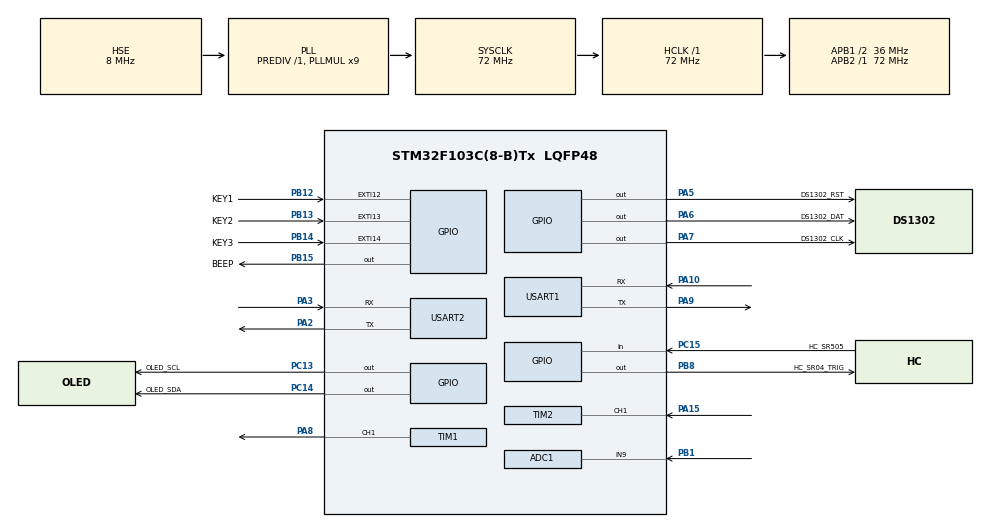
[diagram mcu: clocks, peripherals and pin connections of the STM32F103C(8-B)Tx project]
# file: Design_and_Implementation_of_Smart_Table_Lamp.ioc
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ADC1.Channel-0\#ChannelRegularConversion=ADC_CHANNEL_9
ADC1.NbrOfConversionFlag=1
ADC1.Rank-0\#ChannelRegularConversion=1
ADC1.SamplingTime-0\#ChannelRegularConversion=ADC_SAMPLETIME_1CYCLE_5
ADC1.master=1
Dma.Request0=USART1_RX
Dma.USART1_RX.0.Direction=DMA_PERIPH_TO_MEMORY
Dma.USART1_RX.0.Instance=DMA1_Channel5
Dma.USART1_RX.0.MemDataAlignment=DMA_MDATAALIGN_BYTE
Dma.USART1_RX.0.MemInc=DMA_MINC_ENABLE
Dma.USART1_RX.0.Mode=DMA_NORMAL
Dma.USART1_RX.0.PeriphDataAlignment=DMA_PDATAALIGN_BYTE
Dma.USART1_RX.0.PeriphInc=DMA_PINC_DISABLE
Dma.USART1_RX.0.Priority=DMA_PRIORITY_LOW
Mcu.Family=STM32F1
Mcu.Name=STM32F103C(8-B)Tx
Mcu.Package=LQFP48
NVIC.DMA1_Channel5_IRQn=true\:0\:0\:false\:false\:true\:false\:true\:true
NVIC.EXTI15_10_IRQn=true\:0\:0\:false\:false\:true\:true\:true\:true
NVIC.PriorityGroup=NVIC_PRIORITYGROUP_4
NVIC.TIM1_UP_IRQn=true\:3\:0\:true\:false\:true\:true\:true\:true
NVIC.TIM2_IRQn=true\:2\:0\:true\:false\:true\:true\:true\:true
NVIC.USART1_IRQn=true\:1\:0\:true\:false\:true\:true\:true\:true
PA10.Mode=Asynchronous
PA10.Signal=USART1_RX
PA13.Mode=Serial_Wire
PA13.Signal=SYS_JTMS-SWDIO
PA14.Mode=Serial_Wire
PA14.Signal=SYS_JTCK-SWCLK
PA15.Signal=S_TIM2_CH1_ETR
PA2.Mode=Asynchronous
PA2.Signal=USART2_TX
PA3.Mode=Asynchronous
PA3.Signal=USART2_RX
PA5.GPIO_Label=DS1302_RST
PA5.GPIO_ModeDefaultOutputPP=GPIO_MODE_OUTPUT_PP
PA5.GPIO_PuPd=GPIO_PULLUP
PA5.GPIO_Speed=GPIO_SPEED_FREQ_HIGH
PA5.PinState=GPIO_PIN_SET
PA5.Signal=GPIO_Output
PA6.GPIO_Label=DS1302_DAT
PA6.GPIO_ModeDefaultOutputPP=GPIO_MODE_OUTPUT_PP
PA6.GPIO_PuPd=GPIO_PULLUP
PA6.GPIO_Speed=GPIO_SPEED_FREQ_HIGH
PA6.PinState=GPIO_PIN_SET
PA6.Signal=GPIO_Output
PA7.GPIO_Label=DS1302_CLK
PA7.GPIO_PuPd=GPIO_PULLUP
PA7.GPIO_Speed=GPIO_SPEED_FREQ_HIGH
PA7.PinState=GPIO_PIN_SET
PA7.Signal=GPIO_Output
PA8.Signal=S_TIM1_CH1
PA9.Mode=Asynchronous
PA9.Signal=USART1_TX
PB1.Signal=ADCx_IN9
PB12.GPIO_Label=KEY1
PB12.GPIO_ModeDefaultEXTI=GPIO_MODE_IT_FALLING
PB12.GPIO_PuPd=GPIO_PULLUP
PB12.Signal=GPXTI12
PB13.GPIO_Label=KEY2
PB13.GPIO_ModeDefaultEXTI=GPIO_MODE_IT_FALLING
PB13.GPIO_PuPd=GPIO_PULLUP
PB13.Signal=GPXTI13
PB14.GPIO_Label=KEY3
PB14.GPIO_ModeDefaultEXTI=GPIO_MODE_IT_FALLING
PB14.GPIO_PuPd=GPIO_PULLUP
PB14.Signal=GPXTI14
PB15.GPIO_Label=BEEP
PB15.GPIO_ModeDefaultOutputPP=GPIO_MODE_OUTPUT_PP
PB15.GPIO_PuPd=GPIO_PULLUP
PB15.GPIO_Speed=GPIO_SPEED_FREQ_HIGH
PB15.PinState=GPIO_PIN_SET
PB15.Signal=GPIO_Output
PB8.GPIO_Label=HC_SR04_TRIG
PB8.GPIO_PuPd=GPIO_PULLUP
PB8.GPIO_Speed=GPIO_SPEED_FREQ_HIGH
PB8.Signal=GPIO_Output
PC13-TAMPER-RTC.GPIO_Label=OLED_SCL
PC13-TAMPER-RTC.GPIO_ModeDefaultOutputPP=GPIO_MODE_OUTPUT_PP
PC13-TAMPER-RTC.GPIO_PuPd=GPIO_PULLUP
PC13-TAMPER-RTC.GPIO_Speed=GPIO_SPEED_FREQ_HIGH
PC13-TAMPER-RTC.PinState=GPIO_PIN_SET
PC13-TAMPER-RTC.Signal=GPIO_Output
PC14-OSC32_IN.GPIO_Label=OLED_SDA
PC14-OSC32_IN.GPIO_PuPd=GPIO_PULLUP
PC14-OSC32_IN.GPIO_Speed=GPIO_SPEED_FREQ_HIGH
PC14-OSC32_IN.PinState=GPIO_PIN_SET
PC14-OSC32_IN.Signal=GPIO_Output
PC15-OSC32_OUT.GPIO_Label=HC_SR505
PC15-OSC32_OUT.GPIO_Mode=GPIO_MODE_INPUT
PC15-OSC32_OUT.GPIO_PuPd=GPIO_PULLDOWN
PC15-OSC32_OUT.Signal=GPIO_Input
PD0-OSC_IN.Mode=HSE-External-Oscillator
PD0-OSC_IN.Signal=RCC_OSC_IN
PD1-OSC_OUT.Mode=HSE-External-Oscillator
PD1-OSC_OUT.Signal=RCC_OSC_OUT
ProjectManager.HeapSize=0x200
ProjectManager.StackSize=0x400
ProjectManager.TargetToolchain=MDK-ARM V5.32
RCC.ADCPresc=RCC_ADCPCLK2_DIV6
RCC.AHBFreq_Value=72000000
RCC.APB1CLKDivider=RCC_HCLK_DIV2
RCC.APB1Freq_Value=36000000
RCC.APB1TimFreq_Value=72000000
RCC.APB2Freq_Value=72000000
RCC.APB2TimFreq_Value=72000000
RCC.HCLKFreq_Value=72000000
RCC.PLLMUL=RCC_PLL_MUL9
RCC.PLLSourceVirtual=RCC_PLLSOURCE_HSE
RCC.SYSCLKFreq_VALUE=72000000
RCC.SYSCLKSource=RCC_SYSCLKSOURCE_PLLCLK
RCC.USBFreq_Value=72000000
SH.ADCx_IN9.0=ADC1_IN9,IN9
SH.S_TIM1_CH1.0=TIM1_CH1,PWM Generation1 CH1
SH.S_TIM2_CH1_ETR.0=TIM2_CH1,Input_Capture1_from_TI1
TIM1.AutoReloadPreload=TIM_AUTORELOAD_PRELOAD_ENABLE
TIM1.Channel-PWM\ Generation1\ CH1=TIM_CHANNEL_1
TIM1.Period=999
TIM1.Prescaler=71
TIM2.AutoReloadPreload=TIM_AUTORELOAD_PRELOAD_ENABLE
TIM2.Channel-Input_Capture1_from_TI1=TIM_CHANNEL_1
TIM2.Prescaler=71
USART1.VirtualMode=VM_ASYNC
USART2.VirtualMode=VM_ASYNC
VP_TIM1_VS_ClockSourceINT.Mode=Internal
VP_TIM2_VS_ClockSourceINT.Mode=Internal
board=custom

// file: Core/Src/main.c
/* USER CODE BEGIN Header */
/**
  ******************************************************************************
  * @file           : main.c
  * @brief          : Main program body
  ******************************************************************************
  * @attention
  *
  * Copyright (c) 2026 STMicroelectronics.
  * All rights reserved.
  *
  * This software is licensed under terms that can be found in the LICENSE file
  * in the root directory of this software component.
  * If no LICENSE file comes with this software, it is provided AS-IS.
  *
  ******************************************************************************
  */
/* USER CODE END Header */
#include "main.h"
#include "adc.h"
#include "dma.h"
#include "tim.h"
#include "usart.h"
#include "gpio.h"

/* USER CODE BEGIN Includes */
#include "oled.h"
#include "HC_SR04.h"
#include "delay.h"
#include "esp8266.h"
#include "ds1302.h"
#include "adc.h"
/* USER CODE END Includes */

/* USER CODE BEGIN PV */
extern volatile uint8_t timer1_second_flag;
extern volatile uint16_t timer1_counter;

// Brightness control variables
volatile uint8_t brightness_level = 0; // 0: auto, 1: low, 2: medium, 3: high
volatile uint8_t key1_pressed = 0;
volatile uint8_t key2_pressed = 0;
volatile uint8_t key3_pressed = 0;
volatile uint16_t key1_debounce = 0;
volatile uint16_t key2_debounce = 0;
volatile uint16_t key3_debounce = 0;
const uint16_t DEBOUNCE_TIME = 200; // 200ms debounce time
const uint32_t brightness_values[] = {0, 333, 666, 1000}; // 0: auto, 1: 33%, 2: 66%, 3: 100%

// Time setting variables
volatile uint8_t time_setting_mode = 0; // 0: normal mode, 1: time setting mode

// Ultrasonic threshold variable
volatile uint8_t ultrasonic_threshold = 5; // Default value (0-10)

// HCSR505 and Beep control variables
volatile uint8_t hcsr505_high_count = 0; // Counter for consecutive HCSR505 high level detections
volatile uint8_t beep_active = 0; // Flag indicating if beep is active
volatile uint32_t beep_start_time = 0; // Timestamp when beep was activated
const uint8_t HCSR505_REQUIRED_COUNT = 5; // Required consecutive high level detections
const uint32_t BEEP_DURATION = 5000; // Beep duration in milliseconds (5 seconds)
/* USER CODE END PV */

void SystemClock_Config(void);
/* USER CODE BEGIN PFP */
void TimeSettingInterface(void);
/* USER CODE END PFP */

/* USER CODE BEGIN 0 */

// GPIO EXTI callback function
void HAL_GPIO_EXTI_Callback(uint16_t GPIO_Pin)
{
    if(GPIO_Pin == KEY1_Pin)
    {
        if(key1_debounce == 0)
        {
            if(time_setting_mode == 0)
            {
                // KEY1 pressed: enter time setting mode
                time_setting_mode = 1;
            }
            else
            {
                // KEY1 pressed in setting mode: decrease current setting value
                key1_pressed = 1;
            }

            // Set debounce time
            key1_debounce = DEBOUNCE_TIME;
        }
    }
    else if(GPIO_Pin == KEY2_Pin)
    {
        if(key2_debounce == 0)
        {
            // KEY2 pressed: cycle through brightness levels or adjust setting value
            if(time_setting_mode == 0)
            {
                // Normal mode: adjust brightness
                brightness_level++;
                if(brightness_level > 3)
                {
                    brightness_level = 1; // Reset to low after high
                }

                // Set manual brightness
                if(brightness_level > 0)
                {
                    __HAL_TIM_SET_COMPARE(&htim1, TIM_CHANNEL_1, brightness_values[brightness_level]);
                }
            }
            else
            {
                // Setting mode: increase current setting value
                key2_pressed = 1;
            }

            // Set debounce time
            key2_debounce = DEBOUNCE_TIME;
        }
    }
    else if(GPIO_Pin == KEY3_Pin)
    {
        if(key3_debounce == 0)
        {
            // KEY3 pressed: return to auto mode or switch setting item
            if(time_setting_mode == 0)
            {
                // Normal mode: return to auto brightness
                brightness_level = 0;
            }
            else
            {
                // Setting mode: switch to next setting item
                key3_pressed = 1;
            }

            // Set debounce time
            key3_debounce = DEBOUNCE_TIME;
        }
    }
}

/* USER CODE END 0 */

int main(void)
{

  /* USER CODE BEGIN 1 */
  uint8_t wifi_try = 0, mqtt_try = 0;
  /* USER CODE END 1 */

  /* MCU Configuration--------------------------------------------------------*/

  /* Reset of all peripherals, Initializes the Flash interface and the Systick. */
  HAL_Init();

  /* Configure the system clock */
  SystemClock_Config();

  /* Initialize all configured peripherals */
  MX_GPIO_Init();
  MX_DMA_Init();
  MX_TIM2_Init();
  MX_USART1_UART_Init();
  MX_USART2_UART_Init();
  MX_TIM1_Init();
  MX_ADC1_Init();
  /* USER CODE BEGIN 2 */
  OLED_Init();
  HC_SR04_Init();
  DS1302_Init();

  Delay_Init();

  // 启动TIM1
  HAL_TIM_Base_Start_IT(&htim1);
  // 启动TIM1 PWM
  HAL_TIM_PWM_Start(&htim1, TIM_CHANNEL_1);

  // 初始设置时间（2026-03-23 12:00:00）
//  DS1302_Time init_time;
//  init_time.year = 26;
//  init_time.month = 3;
//  init_time.date = 23;
//  init_time.day = 6; // 0=Sunday, 6=Saturday
//  init_time.hour = 12;
//  init_time.minute = 0;
//  init_time.second = 0;
//  DS1302_SetTime(&init_time);

	#if 1
  while (wifi_try < 5 && !ESP8266_ConnectWiFi())
  {
		 printf("WiFi connect retry\r\n");
      wifi_try++;
      HAL_Delay(1000);
  }

				OLED_ShowString(0,0,(uint8_t*)"Cloud Connect...",8,1);
			OLED_Refresh();
	while(mqtt_try<20&&!ESP8266_ConnectCloud())
	{
		 printf("ConnectCloud retry\r\n");
      mqtt_try++;

      delay_ms(2000);
	}

	if(mqtt_try>20)
	{
							OLED_ShowString(0,0,(uint8_t*)"ConnectCloud failed",8,1);
			OLED_Refresh();
		  while(1);
	}
	 printf("ConnectCloud ok\r\n");

	if(!ESP8266_MQTT_Subscribe(MQTT_TOPIC_POST_REPLY,1))
	{
		 printf("MQTT subscribe post_reply failed\r\n");
		  OLED_Clear();
			OLED_ShowString(0,0,(uint8_t*)"ConnectCloud failed",8,1);
			OLED_Refresh();
		  while(1);
	}

		if(!ESP8266_MQTT_Subscribe(MQTT_TOPIC_SET,0))
	{
		  //HAL_UART_Transmit(&huart2, (uint8_t*)"MQTT subscribe failed\r\n", 22, 100);
		  while(1);
	}

	#endif

	OLED_Clear();
	OLED_ShowString(0,0,(uint8_t*)"Distance:",8,1);
	OLED_ShowString(0,8,(uint8_t*)"Time:",8,1);
	OLED_ShowString(0,16,(uint8_t*)"Date:",8,1);
	OLED_Refresh();
  /* USER CODE END 2 */

  /* Infinite loop */
  while (1)
  {

    /* USER CODE BEGIN 3 */
		ESP8266_ProcessMessages();
    // Check if in time setting mode
    if(time_setting_mode)
    {
        TimeSettingInterface();
    }
    else
    {
	//printf("go\r\n");
    float distance = HC_SR04_MeasureDistance();
    if(distance >= 0)
    {
        uint32_t int_part = (uint32_t)distance;
        uint32_t decimal_part = (uint32_t)((distance - int_part) * 100);
        OLED_ShowNum(70,0,int_part,3,8,1);
        OLED_ShowChar(94,0,'.',8,1);
        OLED_ShowNum(102,0,decimal_part,2,8,1);
        OLED_ShowString(110,0,(uint8_t*)"cm",8,1);

        // 刷新距离显示
        OLED_Refresh();
    }
    else
    {
        //OLED_ShowString(70,0,(uint8_t*)"Err",8,1);
    }

    // HCSR505 and Beep control logic
    uint8_t hcsr505_state = HAL_GPIO_ReadPin(HC_SR505_GPIO_Port, HC_SR505_Pin);

    if(hcsr505_state == GPIO_PIN_SET)
    {
        hcsr505_high_count++;
        if(hcsr505_high_count > HCSR505_REQUIRED_COUNT)
        {
            hcsr505_high_count = HCSR505_REQUIRED_COUNT;
        }
    }
    else
    {
        hcsr505_high_count = 0;
    }

    // Check if beep duration has elapsed
    if(beep_active)
    {
        if(HAL_GetTick() - beep_start_time >= BEEP_DURATION)
        {
            HAL_GPIO_WritePin(BEEP_GPIO_Port, BEEP_Pin, GPIO_PIN_SET);
            beep_active = 0;
        }
    }

    // Activate beep if conditions are met
    if(hcsr505_high_count >= HCSR505_REQUIRED_COUNT && distance >= 0 && distance < ultrasonic_threshold && !beep_active)
    {
        HAL_GPIO_WritePin(BEEP_GPIO_Port, BEEP_Pin, GPIO_PIN_RESET);
        beep_active = 1;
        beep_start_time = HAL_GetTick();
    }

    // 读取ADC值（光照值）- 仅在自动模式下
    if(brightness_level == 0)
    {
        HAL_ADC_Start(&hadc1);
        if (HAL_ADC_PollForConversion(&hadc1, 100) == HAL_OK)
        {
            uint32_t adc_value = HAL_ADC_GetValue(&hadc1);

            // 根据光照值计算PWM占空比
            // 光照值越大，LED越暗；光照值越小，LED越亮
            uint32_t pwm_value = 1000 - (adc_value * 1000 / 4095);
            if (pwm_value > 1000) pwm_value = 1000;
            if (pwm_value < 0) pwm_value = 0;

            // 设置PWM占空比
            __HAL_TIM_SET_COMPARE(&htim1, TIM_CHANNEL_1, pwm_value);
        }
        HAL_ADC_Stop(&hadc1);
    }

    // 1秒显示一次时间
    if(timer1_second_flag)
    {
      timer1_second_flag = 0;
      DS1302_Time time;
      DS1302_GetTime(&time);

      // 显示时间：HH:MM:SS (第二行，位置8)
      OLED_ShowNum(40,8,time.hour,2,8,1);
      OLED_ShowChar(56,8,':',8,1);
      OLED_ShowNum(64,8,time.minute,2,8,1);
      OLED_ShowChar(80,8,':',8,1);
      OLED_ShowNum(88,8,time.second,2,8,1);

      // 显示日期：YYYY-MM-DD (第三行，位置16)
      OLED_ShowNum(40,16,2000 + time.year,4,8,1);
      OLED_ShowChar(72,16,'-',8,1);
      OLED_ShowNum(80,16,time.month,2,8,1);
      OLED_ShowChar(96,16,'-',8,1);
      OLED_ShowNum(104,16,time.date,2,8,1);

      // 只有在更新时间时才刷新OLED显示
      OLED_Refresh();
    }

    // 保持主循环运行，不使用delay_ms阻塞
    delay_ms(100);
    }
  }
  /* USER CODE END 3 */
}

void SystemClock_Config(void)
{
  RCC_OscInitTypeDef RCC_OscInitStruct = {0};
  RCC_ClkInitTypeDef RCC_ClkInitStruct = {0};
  RCC_PeriphCLKInitTypeDef PeriphClkInit = {0};

  /** Initializes the RCC Oscillators according to the specified parameters
  * in the RCC_OscInitTypeDef structure.
  */
  RCC_OscInitStruct.OscillatorType = RCC_OSCILLATORTYPE_HSE;
  RCC_OscInitStruct.HSEState = RCC_HSE_ON;
  RCC_OscInitStruct.HSEPredivValue = RCC_HSE_PREDIV_DIV1;
  RCC_OscInitStruct.HSIState = RCC_HSI_ON;
  RCC_OscInitStruct.PLL.PLLState = RCC_PLL_ON;
  RCC_OscInitStruct.PLL.PLLSource = RCC_PLLSOURCE_HSE;
  RCC_OscInitStruct.PLL.PLLMUL = RCC_PLL_MUL9;
  if (HAL_RCC_OscConfig(&RCC_OscInitStruct) != HAL_OK)
  {
    Error_Handler();
  }

  /** Initializes the CPU, AHB and APB buses clocks
  */
  RCC_ClkInitStruct.ClockType = RCC_CLOCKTYPE_HCLK|RCC_CLOCKTYPE_SYSCLK
                              |RCC_CLOCKTYPE_PCLK1|RCC_CLOCKTYPE_PCLK2;
  RCC_ClkInitStruct.SYSCLKSource = RCC_SYSCLKSOURCE_PLLCLK;
  RCC_ClkInitStruct.AHBCLKDivider = RCC_SYSCLK_DIV1;
  RCC_ClkInitStruct.APB1CLKDivider = RCC_HCLK_DIV2;
  RCC_ClkInitStruct.APB2CLKDivider = RCC_HCLK_DIV1;

  if (HAL_RCC_ClockConfig(&RCC_ClkInitStruct, FLASH_LATENCY_2) != HAL_OK)
  {
    Error_Handler();
  }
  PeriphClkInit.PeriphClockSelection = RCC_PERIPHCLK_ADC;
  PeriphClkInit.AdcClockSelection = RCC_ADCPCLK2_DIV6;
  if (HAL_RCCEx_PeriphCLKConfig(&PeriphClkInit) != HAL_OK)
  {
    Error_Handler();
  }
}

/* USER CODE BEGIN 4 */

// Time setting interface function
void TimeSettingInterface(void)
{
    // Time structure for setting
    DS1302_Time setting_time;
    DS1302_GetTime(&setting_time);

    // Use global ultrasonic threshold variable

    // Current setting item (0: year, 1: month, 2: date, 3: hour, 4: minute, 5: second, 6: ultrasonic threshold, 7: exit)
    uint8_t current_item = 0;
    uint8_t previous_item = 0;
    uint8_t setting_active = 1;

    // Clear OLED display once at the beginning
    OLED_Clear();

    // Display static labels once
    OLED_ShowString(0, 0, (uint8_t*)"Year:", 8, 1);
    OLED_ShowString(0, 8, (uint8_t*)"Month:", 8, 1);
    OLED_ShowString(0, 16, (uint8_t*)"Date:", 8, 1);
    OLED_ShowString(0, 24, (uint8_t*)"Hour:", 8, 1);
    OLED_ShowString(0, 32, (uint8_t*)"Minute:", 8, 1);
    OLED_ShowString(0, 40, (uint8_t*)"Second:", 8, 1);
    OLED_ShowString(0, 48, (uint8_t*)"Threshold:", 8, 1);
    OLED_ShowString(0, 56, (uint8_t*)"Exit", 8, 1);

    // Initial display of values
    OLED_ShowNum(40, 0, 2000 + setting_time.year, 4, 8, 1);
    OLED_ShowNum(48, 8, setting_time.month, 2, 8, 1);
    OLED_ShowNum(40, 16, setting_time.date, 2, 8, 1);
    OLED_ShowNum(40, 24, setting_time.hour, 2, 8, 1);
    OLED_ShowNum(56, 32, setting_time.minute, 2, 8, 1);
    OLED_ShowNum(56, 40, setting_time.second, 2, 8, 1);
    OLED_ShowNum(72, 48, ultrasonic_threshold, 2, 8, 1);

    // Show initial highlight
    OLED_ShowString(110, 0, (uint8_t*)">", 8, 1);
    OLED_Refresh();

    while(setting_active)
    {
        // Clear previous highlight if item has changed
        if(current_item != previous_item)
        {
            // Clear previous highlight by displaying space
            switch(previous_item)
            {
                case 0: // Year
                    OLED_ShowString(110, 0, (uint8_t*)" ", 8, 1);
                    break;
                case 1: // Month
                    OLED_ShowString(110, 8, (uint8_t*)" ", 8, 1);
                    break;
                case 2: // Date
                    OLED_ShowString(110, 16, (uint8_t*)" ", 8, 1);
                    break;
                case 3: // Hour
                    OLED_ShowString(110, 24, (uint8_t*)" ", 8, 1);
                    break;
                case 4: // Minute
                    OLED_ShowString(110, 32, (uint8_t*)" ", 8, 1);
                    break;
                case 5: // Second
                    OLED_ShowString(110, 40, (uint8_t*)" ", 8, 1);
                    break;
                case 6: // Ultrasonic threshold
                    OLED_ShowString(110, 48, (uint8_t*)" ", 8, 1);
                    break;
                case 7: // Exit
                    OLED_ShowString(110, 56, (uint8_t*)" ", 8, 1);
                    break;
            }

            // Show current highlight
            switch(current_item)
            {
                case 0: // Year
                    OLED_ShowString(110, 0, (uint8_t*)">", 8, 1);
                    break;
                case 1: // Month
                    OLED_ShowString(110, 8, (uint8_t*)">", 8, 1);
                    break;
                case 2: // Date
                    OLED_ShowString(110, 16, (uint8_t*)">", 8, 1);
                    break;
                case 3: // Hour
                    OLED_ShowString(110, 24, (uint8_t*)">", 8, 1);
                    break;
                case 4: // Minute
                    OLED_ShowString(110, 32, (uint8_t*)">", 8, 1);
                    break;
                case 5: // Second
                    OLED_ShowString(110, 40, (uint8_t*)">", 8, 1);
                    break;
                case 6: // Ultrasonic threshold
                    OLED_ShowString(110, 48, (uint8_t*)">", 8, 1);
                    break;
                case 7: // Exit
                    OLED_ShowString(110, 56, (uint8_t*)">", 8, 1);
                    break;
            }

            // Update previous item
            previous_item = current_item;

            // Refresh display after highlight change
            OLED_Refresh();
        }

        // Update values if they have changed
        OLED_ShowNum(40, 0, 2000 + setting_time.year, 4, 8, 1);
        OLED_ShowNum(48, 8, setting_time.month, 2, 8, 1);
        OLED_ShowNum(40, 16, setting_time.date, 2, 8, 1);
        OLED_ShowNum(40, 24, setting_time.hour, 2, 8, 1);
        OLED_ShowNum(56, 32, setting_time.minute, 2, 8, 1);
        OLED_ShowNum(56, 40, setting_time.second, 2, 8, 1);
        OLED_ShowNum(72, 48, ultrasonic_threshold, 2, 8, 1);

        // Refresh display for value updates
        OLED_Refresh();

        // Add a small delay to reduce flickering
        delay_ms(50);

        // Check for key presses
        if(key1_pressed)
        {
            key1_pressed = 0;

            switch(current_item)
            {
                case 0: // Year
                    setting_time.year--;
                    if(setting_time.year < 0) setting_time.year = 99;
                    break;
                case 1: // Month
                    setting_time.month--;
                    if(setting_time.month < 1) setting_time.month = 12;
                    break;
                case 2: // Date
                    setting_time.date--;
                    if(setting_time.date < 1)
                    {
                        // Simple date validation (not perfect, but works for most cases)
                        uint8_t max_days = 31;
                        if(setting_time.month == 4 || setting_time.month == 6 || setting_time.month == 9 || setting_time.month == 11)
                            max_days = 30;
                        else if(setting_time.month == 2)
                            max_days = 28; // Simplified, not considering leap years
                        setting_time.date = max_days;
                    }
                    break;
                case 3: // Hour
                    setting_time.hour--;
                    if(setting_time.hour < 0) setting_time.hour = 23;
                    break;
                case 4: // Minute
                    setting_time.minute--;
                    if(setting_time.minute < 0) setting_time.minute = 59;
                    break;
                case 5: // Second
                    setting_time.second--;
                    if(setting_time.second < 0) setting_time.second = 59;
                    break;
                case 6: // Ultrasonic threshold
                    ultrasonic_threshold--;
                    if(ultrasonic_threshold < 0) ultrasonic_threshold = 10;
                    break;
                case 7: // Exit
                    // Save the settings
                    DS1302_SetTime(&setting_time);
                    setting_active = 0;
                    time_setting_mode = 0;
                    break;
            }
        }

        if(key2_pressed)
        {
            key2_pressed = 0;

            switch(current_item)
            {
                case 0: // Year
                    setting_time.year++;
                    if(setting_time.year > 99) setting_time.year = 0;
                    break;
                case 1: // Month
                    setting_time.month++;
                    if(setting_time.month > 12) setting_time.month = 1;
                    break;
                case 2: // Date
                    setting_time.date++;
                    // Simple date validation (not perfect, but works for most cases)
                    uint8_t max_days = 31;
                    if(setting_time.month == 4 || setting_time.month == 6 || setting_time.month == 9 || setting_time.month == 11)
                        max_days = 30;
                    else if(setting_time.month == 2)
                        max_days = 28; // Simplified, not considering leap years
                    if(setting_time.date > max_days) setting_time.date = 1;
                    break;
                case 3: // Hour
                    setting_time.hour++;
                    if(setting_time.hour > 23) setting_time.hour = 0;
                    break;
                case 4: // Minute
                    setting_time.minute++;
                    if(setting_time.minute > 59) setting_time.minute = 0;
                    break;
                case 5: // Second
                    setting_time.second++;
                    if(setting_time.second > 59) setting_time.second = 0;
                    break;
                case 6: // Ultrasonic threshold
                    ultrasonic_threshold++;
                    if(ultrasonic_threshold > 10) ultrasonic_threshold = 0;
                    break;
                case 7: // Exit
                    // Save the settings
                    DS1302_SetTime(&setting_time);
                    setting_active = 0;
                    time_setting_mode = 0;
                    break;
            }
        }

        if(key3_pressed)
        {
            key3_pressed = 0;
            current_item++;
            if(current_item > 7) current_item = 0;
        }

        // Small delay to avoid rapid changes (already added earlier)
        // delay_ms(100);
    }

    // Clear display and return to normal mode
    OLED_Clear();
    OLED_ShowString(0,0,(uint8_t*)"Distance:",8,1);
    OLED_ShowString(0,8,(uint8_t*)"Time:",8,1);
    OLED_ShowString(0,16,(uint8_t*)"Date:",8,1);
    OLED_Refresh();
}

/* USER CODE END 4 */

void Error_Handler(void)
{
  __disable_irq();
  while (1)
  {
  }
}
